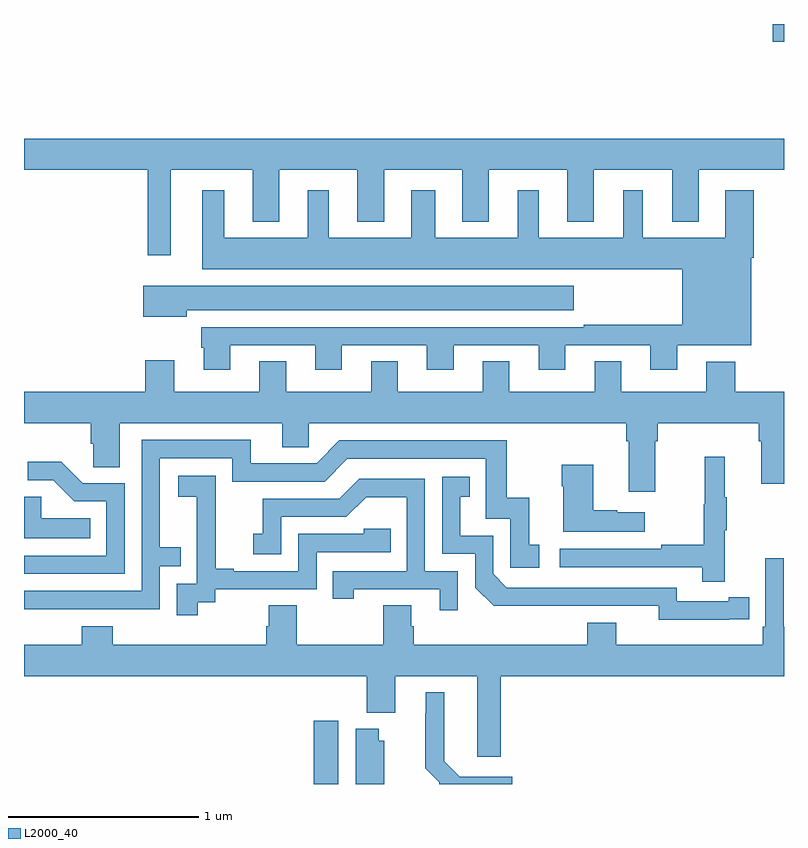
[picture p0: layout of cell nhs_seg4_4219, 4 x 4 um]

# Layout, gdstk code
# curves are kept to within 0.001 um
import gdstk
lib = gdstk.Library(unit=1e-6, precision=1e-09)
def R(c, l, rs):  # rectangles x0, y0, x1, y1
    for r in rs: c.add(gdstk.rectangle(r[:2], r[2:], *l))
def P(c, l, *ps):  # polygons
    for p in ps: c.add(gdstk.Polygon(p, *l))
L2000_40 = (2000, 40)

nhs_seg4_4219 = lib.new_cell('nhs_seg4_4219')
R(nhs_seg4_4219, L2000_40, [(336.524,814.9,336.655,815.233), (338.94,818.807,339,818.9)])
P(nhs_seg4_4219, L2000_40, [(335.773,818.132),(336.203,818.132),(336.203,817.859),(336.343,817.859),(336.343,818.132),(336.755,818.132),(336.755,817.859),(336.895,817.859),(336.895,818.132),(337.307,818.132),(337.307,817.859),(337.447,817.859),(337.447,818.132),(337.859,818.132),(337.859,817.859),(337.999,817.859),(337.999,818.132),(338.411,818.132),(338.411,817.859),(338.551,817.859),(338.551,818.132),(339,818.132),(339,818.296),(335,818.296),(335,818.132),(335.652,818.132),(335.652,817.683),(335.773,817.683)],
  [(336.085,817.209),(336.533,817.209),(336.533,817.08),(336.673,817.08),(336.673,817.209),(337.121,817.209),(337.121,817.08),(337.261,817.08),(337.261,817.209),(337.709,817.209),(337.709,817.08),(337.849,817.08),(337.849,817.209),(338.297,817.209),(338.297,817.08),(338.437,817.08),(338.437,817.208),(338.827,817.208),(338.827,817.67),(338.84,817.67),(338.84,818.026),(338.69,818.026),(338.69,817.774),(338.257,817.774),(338.257,818.026),(338.153,818.026),(338.153,817.774),(337.708,817.774),(337.708,818.026),(337.598,818.026),(337.598,817.774),(337.165,817.774),(337.165,818.026),(337.037,818.026),(337.037,817.774),(336.604,817.774),(336.604,818.026),(336.494,818.026),(336.494,817.774),(336.055,817.774),(336.055,818.026),(335.939,818.026),(335.939,817.61),(338.465,817.61),(338.465,817.318),(337.945,817.318),(337.945,817.305),(335.933,817.305),(335.933,817.197),(335.945,817.197),(335.945,817.08),(336.085,817.08)],
  [(335.857,817.394),(337.894,817.394),(337.894,817.522),(335.628,817.522),(335.628,817.358),(335.857,817.358)],
  [(338.323,816.704),(338.336,816.704),(338.336,816.8),(338.867,816.8),(338.867,816.704),(338.879,816.704),(338.879,816.48),(339,816.48),(339,816.964),(338.744,816.964),(338.744,817.123),(338.591,817.123),(338.591,816.964),(338.143,816.964),(338.143,817.124),(338.003,817.124),(338.003,816.964),(337.555,816.964),(337.555,817.124),(337.415,817.124),(337.415,816.964),(336.967,816.964),(336.967,817.124),(336.827,817.124),(336.827,816.964),(336.379,816.964),(336.379,817.124),(336.239,817.124),(336.239,816.964),(335.791,816.964),(335.791,817.129),(335.639,817.129),(335.639,816.964),(335,816.964),(335,816.8),(335.351,816.8),(335.351,816.691),(335.364,816.691),(335.364,816.568),(335.503,816.568),(335.503,816.8),(336.359,816.8),(336.359,816.673),(336.498,816.673),(336.498,816.8),(338.171,816.8),(338.171,816.704),(338.183,816.704),(338.183,816.438),(338.323,816.438)],
  [(335.219,815.82),(335.715,815.82),(335.715,816.045),(335.825,816.045),(335.825,816.146),(335.715,816.146),(335.715,816.615),(336.096,816.615),(336.096,816.492),(336.582,816.492),(336.702,816.612),(337.431,816.612),(337.431,816.297),(337.56,816.297),(337.56,816.039),(337.711,816.039),(337.711,816.159),(337.658,816.159),(337.658,816.406),(337.54,816.406),(337.54,816.708),(336.66,816.708),(336.54,816.588),(336.193,816.588),(336.193,816.711),(335.619,816.711),(335.619,815.916),(335,815.916),(335,815.819)],
  [(338.687,816.235),(338.698,816.235),(338.698,816.409),(338.687,816.409),(338.687,816.622),(338.584,816.622),(338.584,816.372),(338.577,816.372),(338.577,816.158),(338.353,816.158),(338.353,816.138),(337.821,816.138),(337.821,816.042),(338.569,816.042),(338.569,815.964),(338.687,815.964)],
  [(335.529,816.483),(335.31,816.483),(335.197,816.596),(335.019,816.596),(335.019,816.498),(335.153,816.498),(335.264,816.387),(335.433,816.387),(335.433,816.102),(335,816.102),(335,816.006),(335.529,816.006)],
  [(338.266,816.331),(338.123,816.331),(338.123,816.341),(337.996,816.341),(337.996,816.58),(337.831,816.58),(337.831,816.467),(337.838,816.467),(337.838,816.227),(338.266,816.227)],
  [(335.914,815.857),(336.006,815.857),(336.006,815.925),(336.54,815.925),(336.54,816.12),(336.929,816.12),(336.929,816.243),(336.789,816.243),(336.789,816.216),(336.444,816.216),(336.444,816.021),(336.103,816.021),(336.103,816.034),(336.008,816.034),(336.008,816.317),(336.009,816.317),(336.009,816.523),(335.811,816.523),(335.811,816.413),(335.909,816.413),(335.909,816.185),(335.91,816.185),(335.91,815.955),(335.805,815.955),(335.805,815.787),(335.914,815.787)],
  [(338.708,815.766),(338.816,815.766),(338.816,815.882),(338.708,815.882),(338.708,815.862),(338.436,815.862),(338.436,815.934),(337.542,815.934),(337.47,816.006),(337.47,816.207),(337.297,816.207),(337.297,816.411),(337.346,816.411),(337.346,816.517),(337.2,816.517),(337.2,816.111),(337.374,816.111),(337.374,815.934),(337.472,815.837),(338.34,815.838),(338.34,815.765)],
  [(337.284,816.021),(337.11,816.021),(337.11,816.507),(336.764,816.507),(336.659,816.402),(336.256,816.402),(336.256,816.217),(336.207,816.217),(336.207,816.108),(336.354,816.108),(336.354,816.306),(336.696,816.306),(336.8,816.41),(337.014,816.41),(337.014,816.021),(336.625,816.021),(336.625,815.874),(336.736,815.874),(336.736,815.925),(337.187,815.925),(337.187,815.814),(337.284,815.814)],
  [(335.348,816.298),(335.091,816.298),(335.091,816.413),(335,816.413),(335,816.194),(335.348,816.194)],
  [(337.508,815.468),(339,815.468),(339,815.728),(338.998,815.728),(338.998,816.088),(338.901,816.088),(338.901,815.728),(338.888,815.728),(338.888,815.632),(338.116,815.632),(338.116,815.749),(337.964,815.749),(337.964,815.632),(337.052,815.632),(337.052,815.73),(337.039,815.73),(337.039,815.84),(336.892,815.84),(336.892,815.632),(336.435,815.632),(336.435,815.84),(336.287,815.84),(336.287,815.73),(336.275,815.73),(336.275,815.632),(335.468,815.632),(335.468,815.731),(335.303,815.731),(335.303,815.632),(335,815.632),(335,815.468),(336.803,815.468),(336.803,815.276),(336.955,815.276),(336.955,815.468),(337.385,815.468),(337.385,815.043),(337.508,815.043)],
  [(337.57,814.939),(337.293,814.939),(337.213,815.02),(337.213,815.383),(337.115,815.383),(337.115,815.273),(337.111,815.273),(337.111,814.982),(337.185,814.908),(337.185,814.9),(337.57,814.9)],
  [(336.895,815.127),(336.868,815.127),(336.868,815.191),(336.746,815.191),(336.746,814.9),(336.895,814.9)])

lib.write_gds('nhs_seg4_4219.gds')
